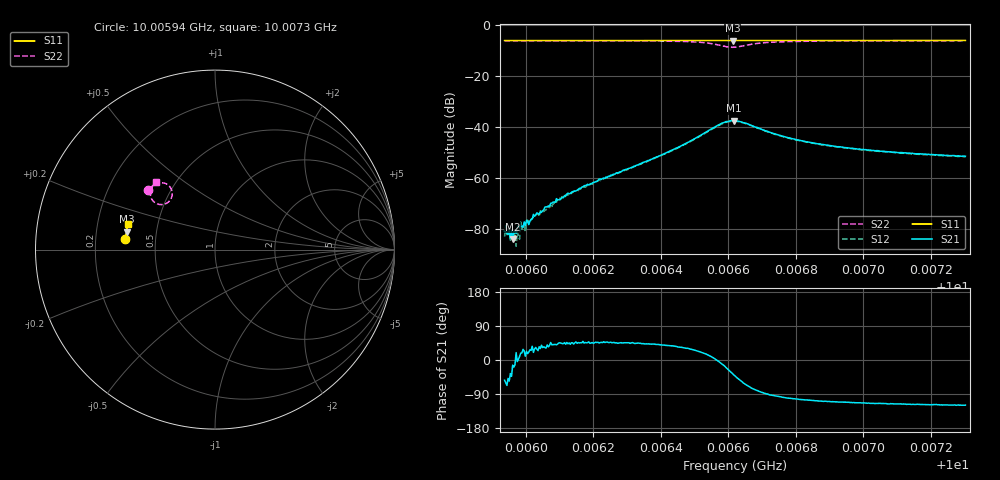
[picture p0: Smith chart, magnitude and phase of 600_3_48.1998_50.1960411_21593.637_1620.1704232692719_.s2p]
#  HZ  S  RI  R  50.00
! Rohde & Schwarz Vector Network Analyzer
! Rohde-Schwarz,ZNB20-2Port,1311601062101988,3.16
! Created: UTC 3/20/2024, 12:02:58 PM
! freq[Hz]  re:S11  im:S11  re:S21  im:S21  re:S12  im:S12  re:S22  im:S22
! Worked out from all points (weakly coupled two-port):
!   401 points, 10.00594 GHz to 10.0073 GHz, reference 50 ohm
!   highest |S21| = -37.42 dB at 10.00662 GHz (marker M1); lowest = -83.8 dB at 10.00596 GHz (marker M2)
!   lowest |S11| = -6.0 dB at 10.00661 GHz (marker M3), VSWR 3.02, Z = 16.7 + j4.47 ohm
!   |S11| at or under -10 dB: nowhere
!   |S22| runs from -8.6 to -6.0 dB; largest |S21 - S12| = 0.00098
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1.0005937e10  -0.499 0.057  5.51e-05 -7.41e-05  4.42e-05 -5.7e-05  -0.3712 0.3322
1.0005961e10  -0.499 0.0585  6.24e-05 -1.51e-05  6.42e-05 -2.34e-06  -0.3699 0.3336
1.0005975e10  -0.4988 0.0595  0.000106 -7.82e-06  8.65e-05 -2.42e-05  -0.369 0.3346
1.0005988e10  -0.4989 0.0603  0.000107 3.65e-05  0.0001 5.82e-06  -0.3683 0.3355
1.0005995e10  -0.4988 0.0608  0.000127 5.69e-05  0.000111 5.2e-05  -0.368 0.336
1.0006012e10  -0.4987 0.062  0.00013 6.66e-05  0.000119 6.25e-05  -0.3669 0.3371
1.0006029e10  -0.4985 0.063  0.00016 0.000105  0.000155 0.000116  -0.366 0.3383
1.0006043e10  -0.4984 0.0638  0.000184 0.000107  0.000179 0.000142  -0.3652 0.3392
1.000606e10  -0.4984 0.065  0.000235 0.000145  0.000153 0.000186  -0.3641 0.3403
1.0006094e10  -0.498 0.0672  0.00028 0.000253  0.000255 0.000286  -0.3618 0.3427
1.0006166e10  -0.4974 0.0718  0.000471 0.000478  0.000415 0.000511  -0.3567 0.3478
1.0006394e10  -0.4955 0.0867  0.00207 0.00178  0.00196 0.00185  -0.3288 0.3674
1.0006534e10  -0.4936 0.0959  0.00777 0.00216  0.00747 0.00248  -0.2682 0.3644
1.0006585e10  -0.4925 0.0986  0.012 -0.00294  0.0118 -0.00225  -0.2382 0.31
1.0006613e10  -0.4921 0.0999  0.0108 -0.0079  0.0111 -0.00711  -0.2581 0.2664
1.0006616e10  -0.4922 0.1  0.0104 -0.0086  0.0108 -0.00772  -0.263 0.2624
1.000662e10  -0.4923 0.1002  0.00997 -0.00898  0.0103 -0.00819  -0.268 0.259
1.0006695e10  -0.4924 0.1048  0.000975 -0.00935  0.00142 -0.00923  -0.3511 0.279
1.000677e10  -0.4915 0.1097  -0.0011 -0.00633  -0.000755 -0.00631  -0.3607 0.3149
1.0006848e10  -0.4907 0.1147  -0.00143 -0.00476  -0.0012 -0.00473  -0.3569 0.3343
1.0007077e10  -0.4876 0.1296  -0.00145 -0.00296  -0.00126 -0.003  -0.3423 0.3615
1.0007302e10  -0.4841 0.1439  -0.00132 -0.00235  -0.00121 -0.00236  -0.3291 0.377
